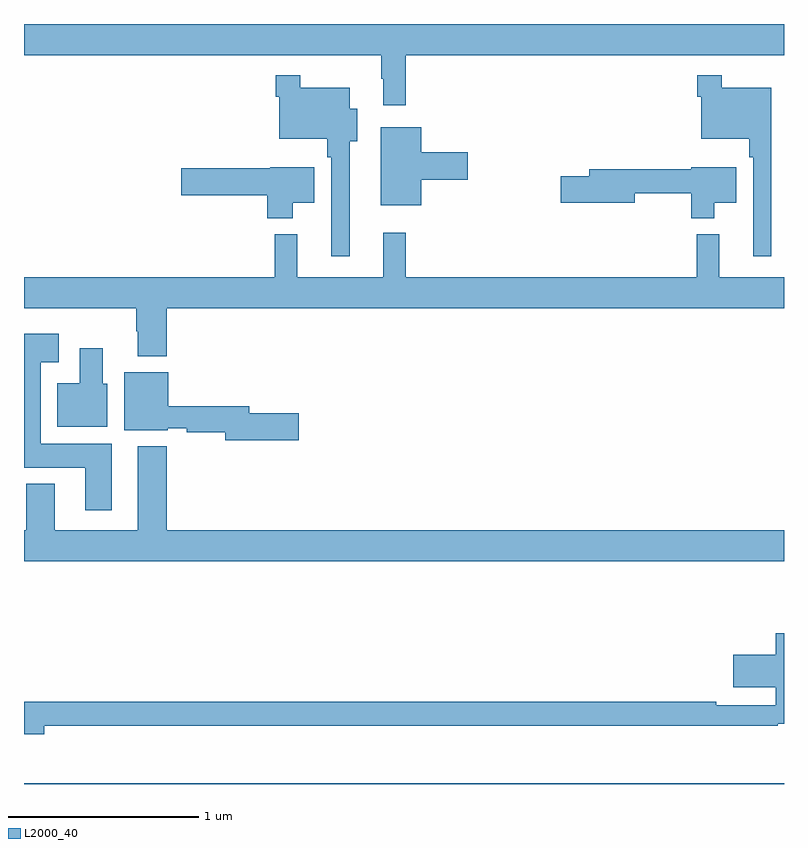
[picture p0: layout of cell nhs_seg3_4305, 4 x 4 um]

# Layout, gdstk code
import gdstk
lib = gdstk.Library(unit=1e-6, precision=1e-09)
def R(c, l, rs):  # rectangles x0, y0, x1, y1
    for r in rs: c.add(gdstk.rectangle(r[:2], r[2:], *l))
def P(c, l, *ps):  # polygons
    for p in ps: c.add(gdstk.Polygon(p, *l))
L2000_40 = (2000, 40)

nhs_seg3_4305 = lib.new_cell('nhs_seg3_4305')
R(nhs_seg3_4305, L2000_40, [(339,710.4,343,710.404)])
P(nhs_seg3_4305, L2000_40, [(341.009,714.236),(343,714.236),(343,714.4),(339,714.4),(339,714.236),(340.881,714.236),(340.881,714.113),(340.892,714.113),(340.892,713.973),(341.009,713.973)],
  [(340.714,713.783),(340.753,713.783),(340.753,713.953),(340.714,713.953),(340.714,714.064),(340.453,714.064),(340.453,714.13),(340.324,714.13),(340.324,714.017),(340.344,714.017),(340.344,713.795),(340.597,713.795),(340.597,713.699),(340.617,713.699),(340.617,713.178),(340.714,713.178)],
  [(342.934,714.064),(342.673,714.064),(342.673,714.13),(342.544,714.13),(342.544,714.017),(342.564,714.017),(342.564,713.795),(342.817,713.795),(342.817,713.699),(342.837,713.699),(342.837,713.178),(342.934,713.178)],
  [(341.092,713.579),(341.335,713.579),(341.335,713.726),(341.092,713.726),(341.092,713.857),(340.877,713.857),(340.877,713.447),(341.092,713.447)],
  [(340.414,713.459),(340.528,713.459),(340.528,713.647),(340.296,713.647),(340.296,713.642),(339.828,713.642),(339.828,713.5),(340.28,713.5),(340.28,713.378),(340.414,713.378)],
  [(342.634,713.459),(342.748,713.459),(342.748,713.647),(342.512,713.647),(342.512,713.636),(341.975,713.636),(341.975,713.6),(341.826,713.6),(341.826,713.458),(342.214,713.458),(342.214,713.508),(342.512,713.508),(342.512,713.378),(342.634,713.378)],
  [(339.752,712.904),(343,712.904),(343,713.068),(342.659,713.068),(342.659,713.293),(342.541,713.293),(342.541,713.068),(341.009,713.068),(341.009,713.302),(340.892,713.302),(340.892,713.068),(340.439,713.068),(340.439,713.293),(340.321,713.293),(340.321,713.068),(339,713.068),(339,712.904),(339.592,712.904),(339.592,712.784),(339.599,712.784),(339.599,712.652),(339.752,712.652)],
  [(339.463,712.192),(339.088,712.192),(339.088,712.619),(339.184,712.619),(339.184,712.771),(339,712.771),(339,712.064),(339.323,712.064),(339.323,711.84),(339.463,711.84)],
  [(339.439,712.506),(339.415,712.506),(339.415,712.693),(339.293,712.693),(339.293,712.51),(339.176,712.51),(339.176,712.28),(339.439,712.28)],
  [(340.447,712.352),(340.186,712.352),(340.186,712.388),(339.76,712.388),(339.76,712.567),(339.527,712.567),(339.527,712.262),(339.756,712.262),(339.756,712.272),(339.856,712.272),(339.856,712.252),(340.058,712.252),(340.058,712.21),(340.447,712.21)],
  [(343,711.736),(339.752,711.736),(339.752,712.177),(339.599,712.177),(339.599,711.736),(339.163,711.736),(339.163,711.979),(339.011,711.979),(339.011,711.736),(339,711.736),(339,711.572),(343,711.572)],
  [(339.106,710.706),(342.968,710.706),(342.968,710.718),(343,710.718),(343,711.193),(342.956,711.193),(342.956,711.08),(342.732,711.08),(342.732,710.909),(342.956,710.909),(342.956,710.814),(342.644,710.814),(342.644,710.834),(339,710.834),(339,710.663),(339.106,710.663)])

lib.write_gds('nhs_seg3_4305.gds')
